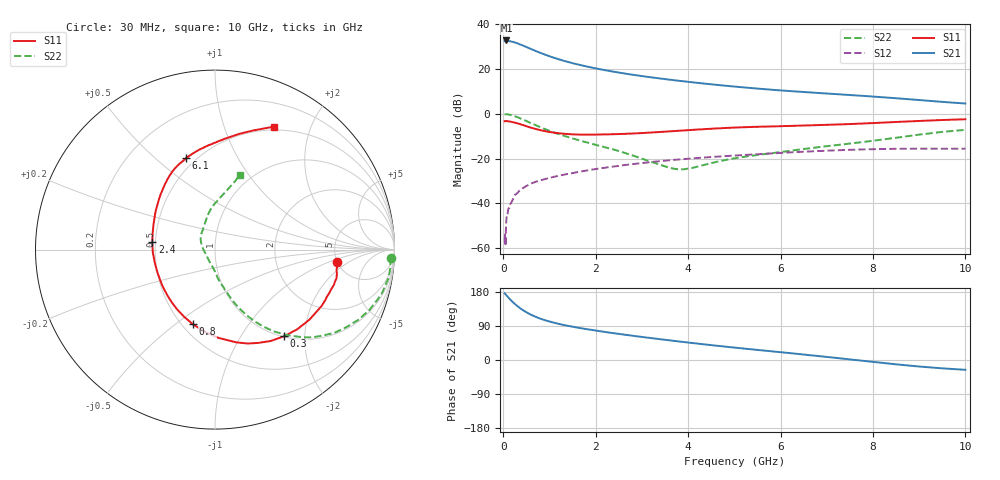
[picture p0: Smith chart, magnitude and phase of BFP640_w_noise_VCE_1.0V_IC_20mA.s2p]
! (c) 2013  Infineon Technologies AG, Munich
! Infineon Technologies  Discrete & RF Semiconductors
! BFP640
! VCE =  1.0 V,  IC =  20 mA
! Common Emitter S-Parameters:  Apr 2013
# GHz  S  MA  R  50
!  f  S11  S21  S12  S22
! GHz  MAG  ANG  MAG  ANG  MAG  ANG  MAG  ANG
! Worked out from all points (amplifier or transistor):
!   99 points, 30 MHz to 10 GHz, reference 50 ohm
!   highest |S21| = 32.9 dB at 70 MHz (marker M1)
!   |S21| within 3 dB of that: start of sweep to 509 MHz
!   unconditionally stable (mu >= 1): 2.717 GHz to end of sweep
!   at 350 MHz: K = 0.27, MSG = 32.8 dB, |S12| = -34.4 dB
!   at 3.5 GHz: K = 1.04, MAG = 17.1 dB, |S12| = -20.9 dB
!   at 10 GHz: K = 1.08, MAG = 8.4 dB, |S12| = -15.6 dB
!   lowest NFmin = 0.85 dB at 450 MHz
!   S11 on the Smith chart (normalised r, x): 30 MHz: 5.00, -1.30; 300 MHz: 1.01, -1.58; 800 MHz: 0.57, -0.58; 2.4 GHz: 0.48, +0.05; 6.1 GHz: 0.44, +0.64; 10 GHz: 0.46, +1.49
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0.03  0.6851 -5.8  42.49 176.0  0.0014 86.2  0.9817 -2.7
0.05  0.6867 -9.5  43.59 173.5  0.0011 78.2  0.979 -5.2
0.07  0.6955 -13.2  43.91 170.5  0.0046 86.1  0.9812 -7.4
0.12  0.6762 -22.8  42.57 163.6  0.0078 81.4  0.9659 -13.1
0.2  0.6553 -36.5  41 153.7  0.0117 76.8  0.9225 -21.6
0.25  0.638 -44.1  39.72 148.1  0.0153 71.8  0.8873 -26.3
0.3  0.6175 -51.4  38.15 142.9  0.0167 70.4  0.8488 -30.7
0.4  0.5732 -65.1  34.73 133.7  0.0211 65.3  0.7678 -38.6
0.5  0.5303 -77.1  31.37 126.0  0.0244 61.8  0.6924 -44.9
0.6  0.4922 -87.8  28.36 119.5  0.0276 59.6  0.622 -50.0
0.7  0.4608 -97.4  25.59 114.1  0.0302 57.6  0.5606 -54.3
0.8  0.4331 -106.7  23.27 109.2  0.0324 56.3  0.5061 -57.9
1  0.395 -122.0  19.5 101.6  0.037 54.2  0.4193 -63.4
1.2  0.3693 -135.3  16.67 95.4  0.0414 53.0  0.3535 -67.6
1.7  0.3438 -161.4  12.16 83.5  0.0519 51.0  0.2464 -74.5
2.4  0.3516 173.0  8.751 70.6  0.0667 46.7  0.1588 -84.5
3.4  0.3951 146.6  6.186 54.8  0.0879 39.4  0.0726 -116.2
5.1  0.4986 117.8  4.002 31.5  0.1186 25.1  0.1054 138.8
6.1  0.5356 107.4  3.3 19.4  0.1358 16.9  0.1443 115.0
6.7  0.5574 100.7  2.994 11.9  0.1456 11.2  0.1736 106.4
8.5  0.6592 78.1  2.24 -11.4  0.1657 -7.1  0.2923 84.1
10  0.759 64.4  1.707 -25.9  0.1667 -18.6  0.4395 71.6
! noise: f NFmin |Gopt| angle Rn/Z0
0.45  0.85  0.13  6  0.02
0.9  0.85  0.13  14  0.03
1.5  0.88  0.1  26  0.04
1.9  0.9  0.14  -134  0.05
2.4  0.94  0.19  -119  0.06
3.5  1.06  0.24  -104  0.08
5.5  1.25  0.25  -96  0.15
10  1.74  0.58  -55  0.46
